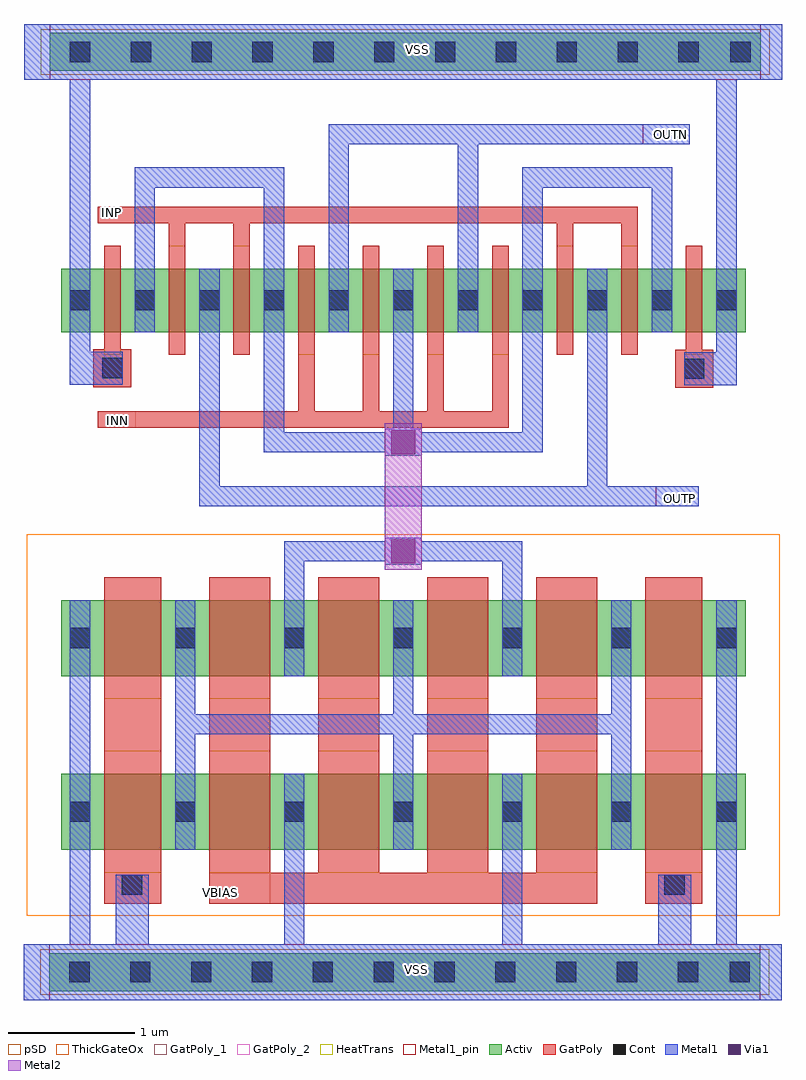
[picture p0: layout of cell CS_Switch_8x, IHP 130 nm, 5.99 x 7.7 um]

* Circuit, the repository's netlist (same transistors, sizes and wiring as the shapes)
** sch_path: /home/designer/shared/CS_DAC/CS_DAC-/xschem/CS_Switch_8x.sch
.subckt CS_Switch_8x INN INP OUTN OUTP VBIAS VSS
*.PININFO VSS:B VBIAS:I OUTP:B OUTN:B INP:I INN:I
MM1 OUTP INP net1 VSS sg13_lv_nmos w=2u l=0.13u ng=1 m=1
MM2 OUTN INN net1 VSS sg13_lv_nmos w=2u l=0.13u ng=1 m=1
MM3 VSS VSS net1 VSS sg13_lv_nmos w=0.5u l=0.13u ng=1 m=1
MM4 VSS VSS net1 VSS sg13_lv_nmos w=0.5u l=0.13u ng=1 m=1
MM5 net1 VBIAS net2 VSS sg13_hv_nmos w=2.4u l=0.48u ng=1 m=1
MM6 net2 VBIAS VSS VSS sg13_hv_nmos w=2.4u l=0.48u ng=1 m=1
MM7 VSS VSS net2 VSS sg13_hv_nmos w=0.6u l=0.45u ng=1 m=1
MM8 VSS VSS net2 VSS sg13_hv_nmos w=0.6u l=0.45u ng=1 m=1
MM9 net2 VSS VSS VSS sg13_hv_nmos w=0.6u l=0.45u ng=1 m=1
MM10 net2 VSS VSS VSS sg13_hv_nmos w=0.6u l=0.45u ng=1 m=1
.ends

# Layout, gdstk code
import gdstk
lib = gdstk.Library(unit=1e-6, precision=1e-09)
def R(c, l, rs):  # rectangles x0, y0, x1, y1
    for r in rs: c.add(gdstk.rectangle(r[:2], r[2:], *l))
def A(c, l, x, y, w, h, nx, ny, dx, dy):  # array of equal rectangles
    R(c, l, [(x+i*dx, y+j*dy, x+i*dx+w, y+j*dy+h) for i in range(nx) for j in range(ny)])
def P(c, l, *ps):  # polygons
    for p in ps: c.add(gdstk.Polygon(p, *l))
Activ = (1, 0)
GatPoly = (5, 0)
GatPoly_1 = (5, 1)
GatPoly_2 = (5, 2)
Cont = (6, 0)
Metal1 = (8, 0)
Metal1_pin = (8, 2)
Metal2 = (10, 0)
pSD = (14, 0)
Via1 = (19, 0)
ThickGateOx = (44, 0)
HeatTrans = (51, 0)

nmos = lib.new_cell('nmos')
A(nmos, Activ, 0, 0, 0.3, 0.3, 3, 1, 0.51, 0)
R(nmos, Activ, [(0,0,1.32,0.5)])
R(nmos, GatPoly, [(0.34,-0.18,0.47,0.68), (0.85,-0.18,0.98,0.68)])
R(nmos, GatPoly_2, [(0.34,-0.18,0.47,0.68)])
A(nmos, Cont, 0.07, 0.17, 0.16, 0.16, 3, 1, 0.51, 0)
A(nmos, Metal1, 0.07, 0, 0.16, 0.5, 3, 1, 0.51, 0)
R(nmos, Metal1_pin, [(0.07,0,0.23,0.5), (0.58,0,0.74,0.5)])
R(nmos, HeatTrans, [(0.34,-0.18,0.47,0.68), (0.85,-0.18,0.98,0.68)])
nmos.add(gdstk.Label('nmos', (0.405,0.25), layer=63, texttype=0))
nmos.add(gdstk.Label('nmos', (0.405,0.25), layer=51, texttype=0))
nmos.add(gdstk.Label('nmos', (0.915,0.25), layer=51, texttype=0))

nmos_1 = lib.new_cell('nmos$1')
R(nmos_1, Activ, [(0,0,0.3,0.3), (0,0,0.81,0.5), (0.51,0,0.81,0.3)])
R(nmos_1, GatPoly, [(0.34,-0.18,0.47,0.68)])
R(nmos_1, GatPoly_2, [(0.34,-0.18,0.47,0.68)])
R(nmos_1, Cont, [(0.07,0.17,0.23,0.33), (0.58,0.17,0.74,0.33)])
R(nmos_1, Metal1, [(0.07,0,0.23,0.5), (0.58,0,0.74,0.5)])
R(nmos_1, Metal1_pin, [(0.07,0,0.23,0.5), (0.58,0,0.74,0.5)])
R(nmos_1, HeatTrans, [(0.34,-0.18,0.47,0.68)])
nmos_1.add(gdstk.Label('nmos', (0.405,0.25), layer=63, texttype=0))
nmos_1.add(gdstk.Label('nmos', (0.405,0.25), layer=51, texttype=0))

via_stack = lib.new_cell('via_stack')
R(via_stack, Metal1, [(-0.145,-0.105,0.145,0.105)])
R(via_stack, Metal2, [(-0.145,-0.1,0.145,0.1)])
R(via_stack, Via1, [(-0.095,-0.095,0.095,0.095)])

nmoshv_2 = lib.new_cell('nmosHV$2')
A(nmoshv_2, Activ, 0, 0, 0.3, 0.3, 5, 1, 0.86, 0)
R(nmoshv_2, Activ, [(0,0,3.74,0.6)])
A(nmoshv_2, GatPoly, 0.34, -0.18, 0.48, 0.96, 4, 1, 0.86, 0)
R(nmoshv_2, GatPoly_2, [(0.34,-0.18,0.82,0.78)])
A(nmoshv_2, Cont, 0.07, 0.22, 0.16, 0.16, 5, 1, 0.86, 0)
A(nmoshv_2, Metal1, 0.07, 0, 0.16, 0.6, 5, 1, 0.86, 0)
R(nmoshv_2, Metal1_pin, [(0.07,0,0.23,0.6), (0.93,0,1.09,0.6)])
R(nmoshv_2, ThickGateOx, [(-0.27,-0.52,4.01,1.12)])
A(nmoshv_2, HeatTrans, 0.34, -0.18, 0.48, 0.96, 4, 1, 0.86, 0)
nmoshv_2.add(gdstk.Label('nmosHV', (0.58,0.3), layer=63, texttype=0))
nmoshv_2.add(gdstk.Label('nmosHV', (0.58,0.3), layer=51, texttype=0))
nmoshv_2.add(gdstk.Label('nmosHV', (1.44,0.3), layer=51, texttype=0))
nmoshv_2.add(gdstk.Label('nmosHV', (2.3,0.3), layer=51, texttype=0))
nmoshv_2.add(gdstk.Label('nmosHV', (3.16,0.3), layer=51, texttype=0))

nmoshv = lib.new_cell('nmosHV')
R(nmoshv, Activ, [(0,0,0.3,0.3), (0,0,1.13,0.6), (0.83,0,1.13,0.3)])
R(nmoshv, GatPoly, [(0.34,-0.18,0.79,0.78)])
R(nmoshv, GatPoly_2, [(0.34,-0.18,0.79,0.78)])
R(nmoshv, Cont, [(0.07,0.22,0.23,0.38), (0.9,0.22,1.06,0.38)])
R(nmoshv, Metal1, [(0.07,0,0.23,0.6), (0.9,0,1.06,0.6)])
R(nmoshv, Metal1_pin, [(0.07,0,0.23,0.6), (0.9,0,1.06,0.6)])
R(nmoshv, ThickGateOx, [(-0.27,-0.52,1.4,1.12)])
R(nmoshv, HeatTrans, [(0.34,-0.18,0.79,0.78)])
nmoshv.add(gdstk.Label('nmosHV', (0.565,0.3), layer=63, texttype=0))
nmoshv.add(gdstk.Label('nmosHV', (0.565,0.3), layer=51, texttype=0))

cs_switch_8x = lib.new_cell('CS_Switch_8x')
R(cs_switch_8x, Activ, [(-2.85,-3.85,2.76,-3.55), (-2.845,3.41,2.765,3.71)])
A(cs_switch_8x, GatPoly, -1.585, -3.099, 0.48, 2.514, 3, 1, 0.86, 0)
A(cs_switch_8x, GatPoly, -0.885, 0.67, 0.13, 0.501, 4, 1, 0.51, 0)
R(cs_switch_8x, GatPoly, [(-2.415,-3.16,-1.965,-0.585), (-1.585,-3.16,1.475,-2.915), (0.995,-3.16,1.475,-0.585), (1.855,-3.16,2.305,-0.585), (1.855,-3.109,2.305,-2.914), (-2.465,0.595,0.775,0.725), (2.09,0.91,2.39,1.21), (-2.5,0.915,-2.2,1.215), (-1.905,2.03,-1.775,2.34), (-1.395,2.03,-1.265,2.34), (1.155,2.03,1.285,2.34), (1.665,2.03,1.795,2.34), (1.155,2.21,1.795,2.34)])
P(cs_switch_8x, GatPoly, [(-2.465,2.21),(-2.465,2.34),(-1.275,2.34),(1.155,2.34),(1.155,2.21)])
R(cs_switch_8x, GatPoly_1, [(-1.585,-3.16,-1.105,-2.915), (-2.465,0.595,-2.165,0.725), (-2.465,2.21,-2.175,2.34)])
R(cs_switch_8x, GatPoly_2, [(-1.585,-3.16,-1.105,-2.914), (-2.465,0.595,-2.165,0.725), (-2.465,2.21,-2.175,2.34)])
R(cs_switch_8x, Cont, [(-2.69,-3.78,-2.53,-3.62), (-2.69,-3.78,-2.53,-3.62), (-2.21,-3.78,-2.05,-3.62), (-2.21,-3.78,-2.05,-3.62), (-1.73,-3.78,-1.57,-3.62), (-1.73,-3.78,-1.57,-3.62), (-1.25,-3.78,-1.09,-3.62), (-1.25,-3.78,-1.09,-3.62), (-0.77,-3.78,-0.61,-3.62), (-0.77,-3.78,-0.61,-3.62), (-0.29,-3.78,-0.13,-3.62), (-0.29,-3.78,-0.13,-3.62), (0.19,-3.78,0.35,-3.62), (0.19,-3.78,0.35,-3.62), (0.67,-3.78,0.83,-3.62), (0.67,-3.78,0.83,-3.62), (1.15,-3.78,1.31,-3.62), (1.15,-3.78,1.31,-3.62), (1.63,-3.78,1.79,-3.62), (1.63,-3.78,1.79,-3.62), (2.11,-3.78,2.27,-3.62), (2.11,-3.78,2.27,-3.62), (2.52,-3.78,2.68,-3.62), (2.52,-3.78,2.68,-3.62), (-2.275,-3.09,-2.115,-2.93), (2.005,-3.09,2.165,-2.93), (2.16,0.98,2.32,1.14), (-2.43,0.985,-2.27,1.145), (-2.685,3.48,-2.525,3.64), (-2.685,3.48,-2.525,3.64), (-2.205,3.48,-2.045,3.64), (-2.205,3.48,-2.045,3.64), (-1.725,3.48,-1.565,3.64), (-1.725,3.48,-1.565,3.64), (-1.245,3.48,-1.085,3.64), (-1.245,3.48,-1.085,3.64), (-0.765,3.48,-0.605,3.64), (-0.765,3.48,-0.605,3.64), (-0.285,3.48,-0.125,3.64), (-0.285,3.48,-0.125,3.64), (0.195,3.48,0.355,3.64), (0.195,3.48,0.355,3.64), (0.675,3.48,0.835,3.64), (0.675,3.48,0.835,3.64), (1.155,3.48,1.315,3.64), (1.155,3.48,1.315,3.64), (1.635,3.48,1.795,3.64), (1.635,3.48,1.795,3.64), (2.115,3.48,2.275,3.64), (2.115,3.48,2.275,3.64), (2.525,3.48,2.685,3.64), (2.525,3.48,2.685,3.64)])
R(cs_switch_8x, Metal1, [(-1.855,-2.135,-1.695,-1.365), (-0.135,-2.135,0.025,-1.364), (1.585,-2.135,1.745,-1.365), (-1.855,-1.825,1.745,-1.665), (-0.995,-0.765,-0.835,-0.3), (0.725,-0.765,0.885,-0.3), (-0.965,-0.46,0.855,-0.3), (-1.665,-0.025,2.275,0.135), (-1.665,-0.025,-1.505,1.351), (1.395,-0.025,1.555,1.351), (-1.155,0.4,1.045,0.56), (-0.135,0.4,0.025,1.35), (-1.155,0.401,-0.995,1.35), (0.885,0.401,1.045,1.35), (2.16,0.93,2.575,1.19), (-2.685,0.935,-2.27,1.195), (-2.685,1.001,-2.525,1.351), (2.415,1.001,2.575,1.35), (-2.685,1.85,-2.525,3.78), (-2.175,1.85,-2.015,2.491), (-1.155,1.85,-0.995,2.491), (-0.645,1.85,-0.485,2.831), (0.375,1.85,0.535,2.831), (0.885,1.85,1.045,2.491), (1.905,1.85,2.065,2.491), (2.415,1.85,2.575,3.78), (-2.175,2.49,-0.995,2.65), (0.885,2.49,2.065,2.65), (-0.645,2.83,2.205,2.99), (-3.045,3.34,2.935,3.78)])
P(cs_switch_8x, Metal1, [(-3.05,-3.92),(-3.05,-3.48),(-2.685,-3.48),(-2.685,-0.765),(-2.525,-0.765),(-2.525,-3.48),(-2.325,-3.48),(-2.325,-2.93),(-2.065,-2.93),(-2.065,-3.48),(-0.995,-3.48),(-0.995,-2.734),(-0.835,-2.734),(-0.835,-3.48),(0.725,-3.48),(0.725,-2.734),(0.885,-2.734),(0.885,-3.48),(1.955,-3.48),(1.955,-2.93),(2.215,-2.93),(2.215,-3.48),(2.415,-3.48),(2.415,-0.765),(2.575,-0.765),(2.575,-3.48),(2.93,-3.48),(2.93,-3.92)])
R(cs_switch_8x, Metal1_pin, [(-2.85,-3.92,2.76,-3.48), (1.935,-0.025,2.275,0.135), (1.835,2.83,2.205,2.99), (-2.845,3.34,2.765,3.78)])
R(cs_switch_8x, Metal2, [(-0.2,-0.525,0.09,0.63)])
R(cs_switch_8x, pSD, [(-2.92,-3.88,2.83,-3.52), (-2.915,3.38,2.835,3.74)])
cs_switch_8x.add(gdstk.Reference(nmos, (-0.205,1.85), x_reflection=True))
cs_switch_8x.add(gdstk.Reference(nmos, (-1.225,1.85), x_reflection=True))
cs_switch_8x.add(gdstk.Reference(nmos, (0.815,1.85), x_reflection=True))
cs_switch_8x.add(gdstk.Reference(nmos, (-2.245,1.85), x_reflection=True))
cs_switch_8x.add(gdstk.Reference(nmos_1, (1.835,1.35)))
cs_switch_8x.add(gdstk.Reference(nmos_1, (-2.755,1.35)))
cs_switch_8x.add(gdstk.Reference(via_stack, (-0.055,0.48)))
cs_switch_8x.add(gdstk.Reference(via_stack, (-0.055,-0.38)))
cs_switch_8x.add(gdstk.Reference(nmoshv_2, (-1.925,-1.365)))
cs_switch_8x.add(gdstk.Reference(nmoshv_2, (-1.925,-2.735)))
cs_switch_8x.add(gdstk.Reference(nmoshv, (-2.755,-1.365)))
cs_switch_8x.add(gdstk.Reference(nmoshv, (-2.755,-2.735)))
cs_switch_8x.add(gdstk.Reference(nmoshv, (1.515,-1.365)))
cs_switch_8x.add(gdstk.Reference(nmoshv, (1.515,-2.735)))
cs_switch_8x.add(gdstk.Label('INP', (-2.355,2.295), layer=5, texttype=1))
cs_switch_8x.add(gdstk.Label('INN', (-2.31,0.655), layer=5, texttype=1))
cs_switch_8x.add(gdstk.Label('VBIAS', (-1.495,-3.075), layer=5, texttype=1))
cs_switch_8x.add(gdstk.Label('OUTP', (2.125,0.036), layer=8, texttype=25))
cs_switch_8x.add(gdstk.Label('OUTN', (2.055,2.911), layer=8, texttype=25))
cs_switch_8x.add(gdstk.Label('VSS', (0.055,3.58), layer=8, texttype=25))
cs_switch_8x.add(gdstk.Label('VSS', (0.05,-3.68), layer=8, texttype=25))

lib.write_gds('CS_Switch_8x.gds')
